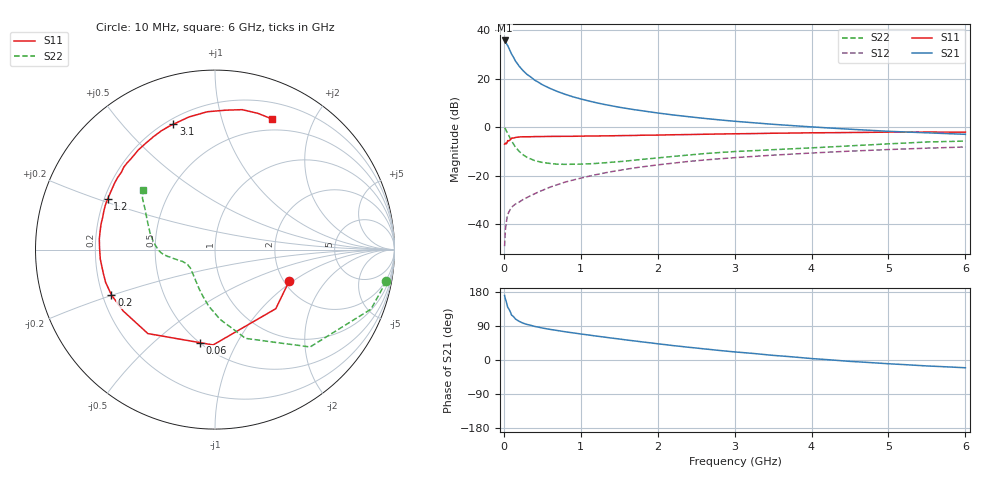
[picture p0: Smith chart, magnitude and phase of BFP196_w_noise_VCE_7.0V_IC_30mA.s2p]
! Infineon Technologies  Discrete & RF Semiconductors
! BFP196
! VCE =  7.0 V,  IC =  30 mA
! Common Emitter S-Parameters:  Jan 2017
# GHz  S  MA  R  50
!  f  S11  S21  S12  S22
! GHz  MAG  ANG  MAG  ANG  MAG  ANG  MAG  ANG
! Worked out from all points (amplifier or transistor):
!   77 points, 10 MHz to 6 GHz, reference 50 ohm
!   highest |S21| = 35.9 dB at 10 MHz (marker M1)
!   |S21| within 3 dB of that: start of sweep to 62.89 MHz
!   unconditionally stable (mu >= 1): 689.1 MHz to 2.376 GHz
!   at 130 MHz: K = 0.47, MSG = 30.4 dB, |S12| = -32.3 dB
!   at 2.2 GHz: K = 1.01, MAG = 9.3 dB, |S12| = -14.8 dB
!   at 6 GHz: K = 0.93, MSG = 2.6 dB, |S12| = -8.1 dB
!   lowest NFmin = 1.22 dB at 450 MHz
!   S11 on the Smith chart (normalised r, x): 10 MHz: 2.13, -0.94; 60 MHz: 0.50, -0.72; 200 MHz: 0.24, -0.20; 1.2 GHz: 0.21, +0.22; 3.1 GHz: 0.23, +0.70; 6 GHz: 0.37, +1.46
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0.01  0.4488 -23.1  62.05 170.1  0.0035 80.7  0.9706 -10.5
0.02  0.4724 -44.2  60.23 161.2  0.0075 70.2  0.9304 -20.9
0.03  0.4547 -60.7  55.46 154.9  0.0102 65.6  0.8563 -28.0
0.05  0.5312 -91.1  48.45 139.2  0.0158 61.2  0.7582 -45.7
0.06  0.5251 -99.1  44.93 136.3  0.017 58.5  0.7026 -49.3
0.1  0.5989 -128.6  32.61 118.8  0.0222 50.8  0.5232 -71.0
0.15  0.6152 -146.2  23.5 108.4  0.0259 47.0  0.39 -85.8
0.2  0.6298 -156.3  18.2 101.9  0.0285 50.5  0.3165 -96.4
0.25  0.6361 -163.3  14.77 97.2  0.0322 51.3  0.2702 -104.2
0.3  0.6362 -168.2  12.4 93.9  0.0353 52.9  0.2394 -111.1
0.4  0.6413 -175.3  9.434 88.6  0.0423 57.3  0.2051 -121.3
0.5  0.6433 179.1  7.571 84.4  0.0497 58.8  0.1878 -129.2
0.7  0.6482 170.9  5.446 77.7  0.0655 61.7  0.1726 -140.4
0.9  0.651 164.0  4.247 71.6  0.0813 61.8  0.1724 -147.4
1.1  0.6595 157.7  3.502 66.0  0.0969 61.1  0.1756 -152.7
1.2  0.6613 154.6  3.214 63.2  0.105 60.3  0.1791 -154.9
1.6  0.6749 143.4  2.441 52.7  0.1367 57.0  0.2013 -161.8
2.1  0.6943 130.1  1.882 40.5  0.1742 51.5  0.2411 -168.7
3.1  0.7359 108.4  1.292 19.7  0.2412 39.3  0.3204 179.0
4.1  0.7701 91.7  0.995 2.4  0.2991 27.7  0.3824 163.2
5.1  0.7937 77.7  0.813 -11.0  0.351 16.2  0.4623 148.4
6  0.7941 66.6  0.715 -20.5  0.3914 6.1  0.5187 140.4
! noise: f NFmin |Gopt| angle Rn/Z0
0.45  1.22  0.34  169  0.05
0.9  1.38  0.45  -172  0.06
1.9  2.24  0.68  -135  0.25
2.4  2.64  0.71  -121  0.6
